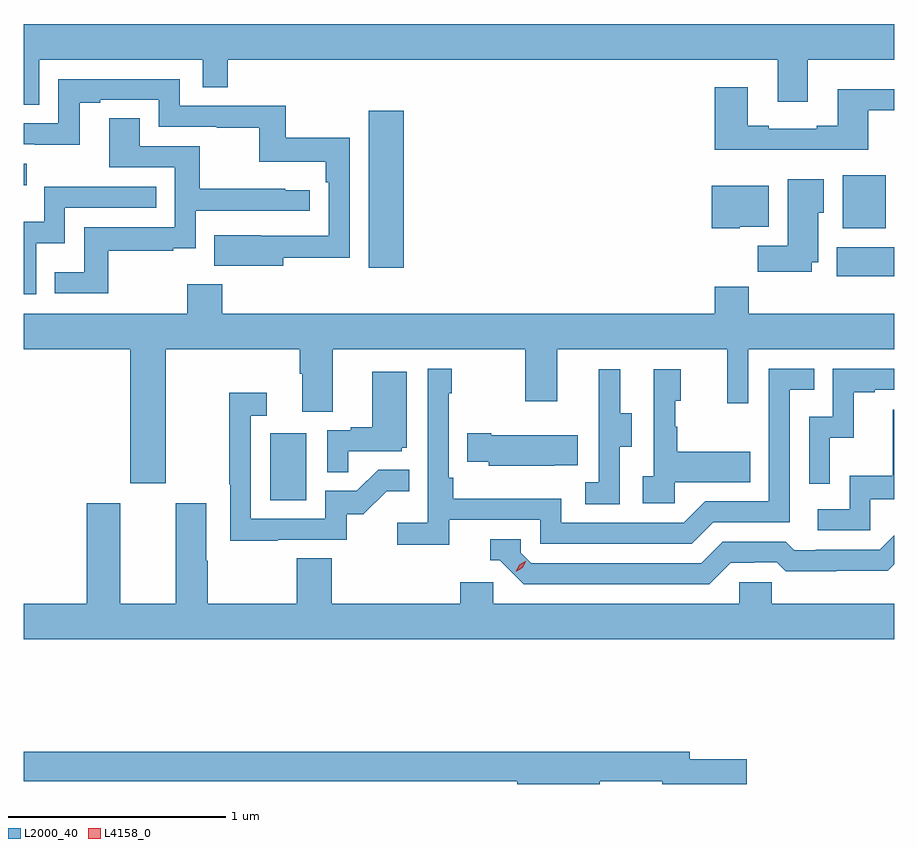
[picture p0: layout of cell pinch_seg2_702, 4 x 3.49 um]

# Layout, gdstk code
import gdstk
lib = gdstk.Library(unit=1e-6, precision=1e-09)
def R(c, l, rs):  # rectangles x0, y0, x1, y1
    for r in rs: c.add(gdstk.rectangle(r[:2], r[2:], *l))
def P(c, l, *ps):  # polygons
    for p in ps: c.add(gdstk.Polygon(p, *l))
L2000_40 = (2000, 40)
L4158_0 = (4158, 0)

pinch_seg2_702 = lib.new_cell('pinch_seg2_702')
R(pinch_seg2_702, L2000_40, [(1128.8,592.332,1128.964,592.639), (1131.404,593.36,1131.667,593.494), (1129.253,593.4,1129.414,594.121), (1131.431,593.582,1131.628,593.824), (1127.667,593.78,1127.68,593.877)])
P(pinch_seg2_702, L2000_40, [(1127.737,594.356),(1128.489,594.356),(1128.489,594.229),(1128.605,594.229),(1128.605,594.356),(1131.131,594.356),(1131.131,594.162),(1131.271,594.162),(1131.271,594.356),(1131.667,594.356),(1131.667,594.52),(1127.667,594.52),(1127.667,594.148),(1127.737,594.148)],
  [(1128.859,593.446),(1129.164,593.446),(1129.164,593.998),(1128.871,593.998),(1128.871,594.144),(1128.384,594.144),(1128.384,594.267),(1127.826,594.267),(1127.826,594.063),(1127.667,594.063),(1127.667,593.967),(1127.718,593.967),(1127.718,593.966),(1127.923,593.966),(1127.923,594.159),(1128.019,594.159),(1128.019,594.171),(1128.288,594.171),(1128.288,594.048),(1128.553,594.048),(1128.553,594.043),(1128.75,594.043),(1128.75,593.888),(1129.055,593.888),(1129.055,593.792),(1129.068,593.792),(1129.068,593.547),(1128.755,593.547),(1128.755,593.548),(1128.541,593.548),(1128.541,593.408),(1128.859,593.408)],
  [(1131.547,594.123),(1131.667,594.123),(1131.667,594.22),(1131.407,594.22),(1131.407,594.052),(1131.311,594.052),(1131.311,594.039),(1131.091,594.039),(1131.091,594.052),(1130.995,594.052),(1130.995,594.229),(1130.843,594.229),(1130.843,593.942),(1131.547,593.942)],
  [(1128.055,593.478),(1128.353,593.478),(1128.353,593.489),(1128.456,593.489),(1128.456,593.661),(1128.982,593.661),(1128.982,593.757),(1128.869,593.757),(1128.869,593.762),(1128.476,593.762),(1128.476,593.958),(1128.199,593.958),(1128.199,594.086),(1128.059,594.086),(1128.059,593.862),(1128.36,593.862),(1128.36,593.586),(1127.944,593.586),(1127.944,593.38),(1127.809,593.38),(1127.809,593.283),(1128.055,593.283)],
  [(1131.289,593.426),(1131.319,593.426),(1131.319,593.652),(1131.343,593.652),(1131.343,593.806),(1131.179,593.806),(1131.179,593.5),(1131.04,593.5),(1131.04,593.382),(1131.289,593.382)],
  [(1130.958,593.588),(1131.091,593.588),(1131.091,593.776),(1130.828,593.776),(1130.828,593.582),(1130.958,593.582)],
  [(1127.724,593.513),(1127.856,593.513),(1127.856,593.676),(1128.275,593.676),(1128.275,593.772),(1127.76,593.772),(1127.76,593.611),(1127.667,593.611),(1127.667,593.277),(1127.724,593.277)],
  [(1128.319,593.024),(1128.935,593.024),(1128.935,592.912),(1128.947,592.912),(1128.947,592.738),(1129.087,592.738),(1129.087,593.024),(1129.972,593.024),(1129.972,592.785),(1130.119,592.785),(1130.119,593.024),(1130.9,593.024),(1130.9,592.776),(1130.997,592.776),(1130.997,593.024),(1131.667,593.024),(1131.667,593.188),(1130.999,593.188),(1130.999,593.312),(1130.843,593.312),(1130.843,593.188),(1128.578,593.188),(1128.578,593.323),(1128.418,593.323),(1128.418,593.188),(1127.667,593.188),(1127.667,593.024),(1128.155,593.024),(1128.155,592.41),(1128.319,592.41)],
  [(1129.622,592.242),(1130.04,592.242),(1130.04,592.131),(1130.737,592.131),(1130.836,592.23),(1131.186,592.23),(1131.186,592.839),(1131.299,592.839),(1131.299,592.935),(1131.09,592.935),(1131.09,592.326),(1130.799,592.326),(1130.7,592.227),(1130.136,592.227),(1130.136,592.339),(1129.64,592.339),(1129.64,592.435),(1129.62,592.435),(1129.62,592.823),(1129.633,592.823),(1129.633,592.936),(1129.524,592.936),(1129.524,592.228),(1129.383,592.228),(1129.383,592.126),(1129.622,592.126)],
  [(1131.372,592.619),(1131.482,592.619),(1131.482,592.827),(1131.577,592.827),(1131.577,592.839),(1131.667,592.839),(1131.667,592.935),(1131.384,592.935),(1131.384,592.716),(1131.276,592.716),(1131.276,592.407),(1131.372,592.407)],
  [(1130.406,592.576),(1130.461,592.576),(1130.461,592.731),(1130.407,592.731),(1130.407,592.933),(1130.309,592.933),(1130.309,592.719),(1130.31,592.719),(1130.31,592.415),(1130.247,592.415),(1130.247,592.312),(1130.406,592.312)],
  [(1130.658,592.415),(1131.005,592.415),(1131.005,592.555),(1130.671,592.555),(1130.671,592.67),(1130.661,592.67),(1130.661,592.788),(1130.686,592.788),(1130.686,592.933),(1130.562,592.933),(1130.562,592.442),(1130.511,592.442),(1130.511,592.317),(1130.658,592.317)],
  [(1129.157,592.557),(1129.404,592.557),(1129.404,592.572),(1129.426,592.572),(1129.426,592.921),(1129.268,592.921),(1129.268,592.666),(1129.169,592.666),(1129.169,592.653),(1129.062,592.653),(1129.062,592.459),(1129.157,592.459)],
  [(1128.833,592.149),(1129.152,592.149),(1129.152,592.266),(1129.228,592.266),(1129.335,592.373),(1129.439,592.373),(1129.439,592.472),(1129.295,592.472),(1129.197,592.374),(1129.053,592.374),(1129.053,592.245),(1128.711,592.245),(1128.711,592.719),(1128.784,592.719),(1128.784,592.825),(1128.61,592.825),(1128.61,592.405),(1128.615,592.405),(1128.615,592.144),(1128.833,592.144)],
  [(1131.558,592.335),(1131.667,592.335),(1131.667,592.747),(1131.661,592.747),(1131.661,592.444),(1131.462,592.444),(1131.462,592.29),(1131.315,592.29),(1131.315,592.194),(1131.558,592.194)],
  [(1130.105,592.493),(1130.213,592.493),(1130.213,592.63),(1129.816,592.63),(1129.816,592.638),(1129.705,592.638),(1129.705,592.508),(1129.803,592.508),(1129.803,592.49),(1130.105,592.49)],
  [(1131.667,591.856),(1131.105,591.856),(1131.105,591.954),(1130.955,591.954),(1130.955,591.856),(1129.824,591.856),(1129.824,591.954),(1129.673,591.954),(1129.673,591.856),(1129.082,591.856),(1129.082,592.064),(1128.922,592.064),(1128.922,591.856),(1128.513,591.856),(1128.513,592.052),(1128.505,592.052),(1128.505,592.318),(1128.365,592.318),(1128.365,591.856),(1128.109,591.856),(1128.109,592.318),(1127.957,592.318),(1127.957,591.856),(1127.667,591.856),(1127.667,591.692),(1131.667,591.692)],
  [(1130.917,592.044),(1131.024,592.044),(1131.024,592.047),(1131.127,592.047),(1131.169,592.005),(1131.402,592.005),(1131.402,592.007),(1131.638,592.007),(1131.667,592.036),(1131.667,592.171),(1131.6,592.104),(1131.307,592.104),(1131.307,592.101),(1131.208,592.101),(1131.169,592.14),(1130.88,592.14),(1130.781,592.041),(1129.998,592.041),(1129.95,592.089),(1129.95,592.152),(1129.811,592.152),(1129.811,592.056),(1129.854,592.056),(1129.965,591.945),(1130.818,591.945)],
  [(1130.314,591.04),(1130.6,591.04),(1130.6,591.027),(1130.989,591.027),(1130.989,591.14),(1130.728,591.14),(1130.728,591.176),(1127.667,591.176),(1127.667,591.04),(1129.934,591.04),(1129.934,591.027),(1130.314,591.027)])
P(pinch_seg2_702, L4158_0, [(1129.928,592.002),(1129.928,592.003),(1129.944,592.035),(1129.975,592.054),(1129.975,592.054),(1129.975,592.053),(1129.959,592.021),(1129.928,592.002)])

lib.write_gds('pinch_seg2_702.gds')
